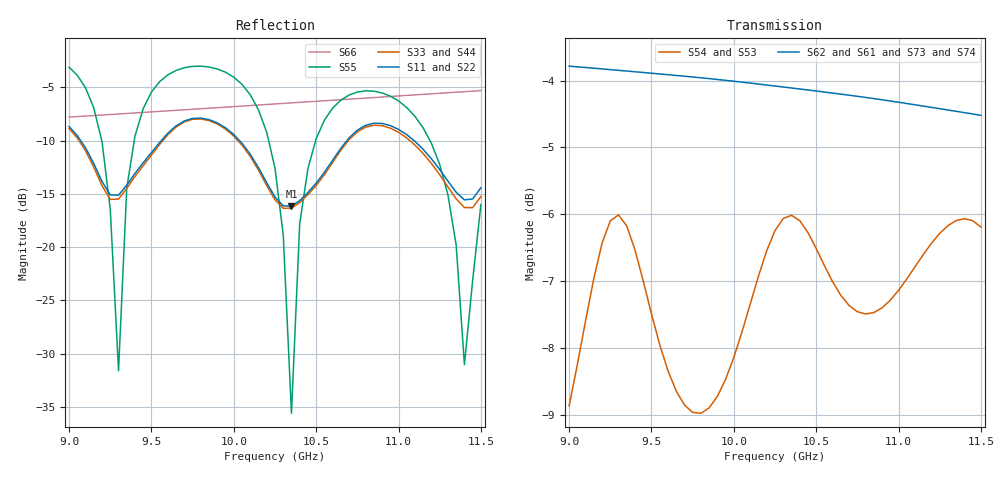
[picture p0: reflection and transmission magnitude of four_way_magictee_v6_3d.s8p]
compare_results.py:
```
#!/usr/bin/env python3
"""Compare rebuilt HFSS S4P/S8P against the *actual historical* PEC solve.

No rerun or publication data are altered. Complex S matrices are compared over
matching frequency grids, with an optional acceptance threshold on max |ΔS|.
This is an electromagnetic **regression check**, not a high-power validation.
"""
from __future__ import annotations
import argparse
import cmath
import json
import math
from pathlib import Path


ROOT = Path(__file__).resolve().parents[1]
REFERENCE = {
    "cell": ROOT / "hfss/results/v7_stepped_post_local/joint_l1p4_s6p2/single_magictee_v4_full.s4p",
    "tree": ROOT / "hfss/results/v7_four_way_3d_optimized/four_way_magictee_v6_3d.s8p",
}
CANDIDATE = {
    "cell": ROOT / "hfss/output_current/cell/magictee_cell.s4p",
    "tree": ROOT / "hfss/output_current/tree/magictee_tree.s8p",
}
PORTS = {"cell":4,"tree":8}


def read_touchstone(path: Path, ports: int):
    path = Path(path)
    if not path.is_file():
        raise FileNotFoundError(f"missing simulation file: {path}")
    frequencies, matrices, fields = [], [], []
    units = "ghz"
    fmt = "ma"
    for raw in path.read_text(encoding="utf-8", errors="replace").splitlines():
        line = raw.split("!",1)[0].strip()
        if not line:
            continue
        if line.startswith("#"):
            words = line[1:].lower().split()
            if words:
                units = words[0]
            if "s" not in words:
                raise ValueError(f"{path}: only S parameters supported")
            if "ma" in words:
                fmt="ma"
            elif "ri" in words:
                fmt="ri"
            else:
                raise ValueError(f"{path}: only S MA/RI supported")
            continue
        fields.extend(float(x) for x in line.split())
    if units not in ("ghz","mhz","hz","khz"):
        raise ValueError(f"{path}: unrecognized frequency unit {units}")
    scale = {"hz":1e-9,"khz":1e-6,"mhz":1e-3,"ghz":1.0}[units]
    length=1+2*ports*ports
    if not fields or len(fields)%length:
        raise ValueError(f"{path}: wrong number of {ports}-port Touchstone fields")
    for start in range(0,len(fields),length):
        part=fields[start:start+length]
        frequencies.append(part[0]*scale)
        values=[]
        for k in range(1,len(part),2):
            a,b=part[k],part[k+1]
            values.append(cmath.rect(a,math.radians(b)) if fmt=="ma" else complex(a,b))
        matrices.append(values)
    return frequencies, matrices


def compare(reference: Path, candidate: Path, ports: int) -> dict:
    base_freq, base=read_touchstone(reference,ports)
    new_freq, new=read_touchstone(candidate,ports)
    if len(base_freq)!=len(new_freq):
        raise ValueError(f"frequency point count differs: {len(base_freq)} vs {len(new_freq)}")
    for i,(a,b) in enumerate(zip(base_freq,new_freq)):
        if not math.isclose(a,b,abs_tol=1e-8,rel_tol=0):
            raise ValueError(f"frequency mismatch at index {i}: {a} vs {b} GHz")
    diffs=[abs(a-b) for m,n in zip(base,new) for a,b in zip(m,n)]
    return {
        "frequency_points":len(base_freq),
        "band_GHz":[base_freq[0],base_freq[-1]],
        "ports":ports,
        "max_abs_complex_S_error":max(diffs),
        "rms_complex_S_error":math.sqrt(sum(v*v for v in diffs)/len(diffs)),
        "max_abs_complex_S_error_dB_relative_to_unity":20*math.log10(max(max(diffs),1e-15)),
    }


def main(argv=None) -> int:
    ap=argparse.ArgumentParser(description=__doc__)
    ap.add_argument("--mode",choices=("cell","tree"),required=True)
    ap.add_argument("--reference",type=Path)
    ap.add_argument("--candidate",type=Path)
    ap.add_argument("--max-abs",type=float,help="optional max complex |ΔS| acceptance bound")
    args=ap.parse_args(argv)
    result=compare(args.reference or REFERENCE[args.mode],
                   args.candidate or CANDIDATE[args.mode],PORTS[args.mode])
    print(json.dumps(result,indent=2))
    if args.max_abs is not None:
        if args.max_abs<0:
            raise ValueError("--max-abs must be >=0")
        if result["max_abs_complex_S_error"]>args.max_abs:
            print("FAIL: rebuilt model differs from original beyond requested bound")
            return 1
        print("PASS: rebuilt model is within requested complex-S bound")
    return 0


if __name__=="__main__":
    raise SystemExit(main())
```
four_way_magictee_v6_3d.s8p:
! Full 3-D v6 four-way tree: IN1 IN2 IN3 IN4 OUT DUMP_A DUMP_B DUMP_C
# GHz S MA R 50
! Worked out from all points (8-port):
!   51 points, 9 GHz to 11.5 GHz, reference 50 ohm
!   strongest paths, dB at 9 GHz, 9.6 GHz, 10.25 GHz, 10.9 GHz, 11.5 GHz:
!     S62: -3.8, -3.9, -4.1, -4.3, -4.5
!     S61: -3.8, -3.9, -4.1, -4.3, -4.5
!     S73: -3.8, -3.9, -4.1, -4.3, -4.5
!     S74: -3.8, -3.9, -4.1, -4.3, -4.5
!     S54: -8.9, -8.3, -6.2, -7.4, -6.2
!     S53: -8.9, -8.3, -6.3, -7.4, -6.2
!   lowest |S11| = -16.2 dB at 10.35 GHz (marker M1), VSWR 1.37, Z = 37.2 - j4.5 ohm
!   |S11| at or under -10 dB: 9.07 GHz to 9.56 GHz (490.4 MHz wide, 5.26 % of centre); 10.03 GHz to 10.69 GHz (653.3 MHz wide, 6.31 % of centre); 11.09 GHz to end of sweep
